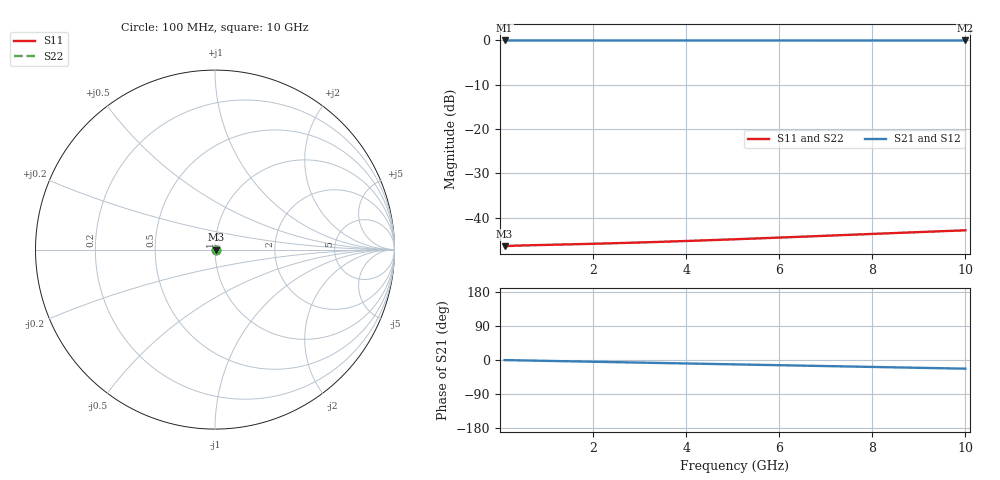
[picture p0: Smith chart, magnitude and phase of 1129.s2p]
# Hz S RI R 50.00
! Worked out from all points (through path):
!   100 points, 100 MHz to 10 GHz, reference 50 ohm
!   highest |S21| = -0.04 dB at 100 MHz (marker M1); lowest = 0.0 dB at 10 GHz (marker M2)
!   group delay of S21, straight-line fit = 6.35 ps
!   lowest |S11| = -46.4 dB at 100 MHz (marker M3), VSWR 1.01, Z = 50.5 + j0.00347 ohm
!   |S11| at or under -10 dB: start of sweep to end of sweep
!   |S22| runs from -46.4 to -42.8 dB; largest |S21 - S12| = 0
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1e8  0.00478 3.44e-05  0.9952 -0.00397  0.9952 -0.00397  0.00478 3.44e-05
2e8  0.00481 6.85e-05  0.9951 -0.00794  0.9951 -0.00794  0.00481 6.85e-05
3e8  0.00483 0.000102  0.9951 -0.0119  0.9951 -0.0119  0.00483 0.000102
5e8  0.00487 0.00017  0.9949 -0.0198  0.9949 -0.0198  0.00487 0.00017
8e8  0.00491 0.000271  0.9946 -0.0317  0.9946 -0.0317  0.00491 0.000271
1.2e9  0.00496 0.000404  0.9939 -0.0476  0.9939 -0.0476  0.00496 0.000404
1.8e9  0.00502 0.0006  0.9924 -0.0714  0.9924 -0.0714  0.00502 0.0006
2.2e9  0.00507 0.000729  0.9911 -0.0872  0.9911 -0.0872  0.00507 0.000729
2.6e9  0.00512 0.000857  0.9895 -0.103  0.9895 -0.103  0.00512 0.000857
3e9  0.00517 0.000982  0.9877 -0.1188  0.9877 -0.1188  0.00517 0.000982
3.4e9  0.00523 0.00111  0.9857 -0.1345  0.9857 -0.1345  0.00523 0.00111
3.8e9  0.00528 0.00123  0.9834 -0.1502  0.9834 -0.1502  0.00528 0.00123
4.2e9  0.00535 0.00135  0.9808 -0.1659  0.9808 -0.1659  0.00535 0.00135
4.6e9  0.00542 0.00146  0.978 -0.1815  0.978 -0.1815  0.00542 0.00146
5.1e9  0.00551 0.0016  0.9742 -0.201  0.9742 -0.201  0.00551 0.0016
5.9e9  0.00566 0.00182  0.9672 -0.232  0.9672 -0.232  0.00566 0.00182
6.7e9  0.00584 0.00202  0.9593 -0.2628  0.9593 -0.2628  0.00584 0.00202
7.5e9  0.00602 0.00221  0.9503 -0.2933  0.9503 -0.2933  0.00602 0.00221
7.9e9  0.00612 0.0023  0.9455 -0.3084  0.9455 -0.3084  0.00612 0.0023
8.4e9  0.00625 0.0024  0.9391 -0.3272  0.9391 -0.3272  0.00625 0.0024
9.2e9  0.00647 0.00256  0.9281 -0.357  0.9281 -0.357  0.00647 0.00256
1e10  0.0067 0.00269  0.9162 -0.3865  0.9162 -0.3865  0.0067 0.00269
